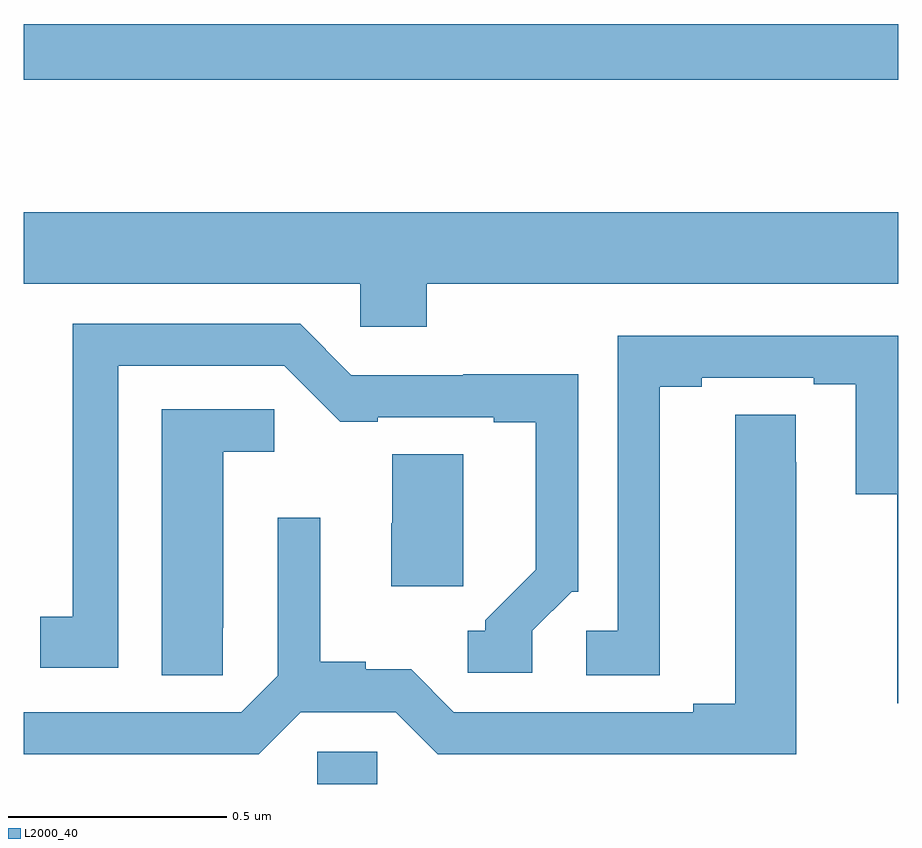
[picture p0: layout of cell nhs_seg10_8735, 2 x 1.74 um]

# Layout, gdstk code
import gdstk
lib = gdstk.Library(unit=1e-6, precision=1e-09)
def R(c, l, rs):  # rectangles x0, y0, x1, y1
    for r in rs: c.add(gdstk.rectangle(r[:2], r[2:], *l))
def P(c, l, *ps):  # polygons
    for p in ps: c.add(gdstk.Polygon(p, *l))
L2000_40 = (2000, 40)

nhs_seg10_8735 = lib.new_cell('nhs_seg10_8735')
R(nhs_seg10_8735, L2000_40, [(220.671,1304.5,220.809,1304.574), (220,1306.11,222,1306.238)])
P(nhs_seg10_8735, L2000_40, [(220.922,1305.644),(222,1305.644),(222,1305.808),(220,1305.808),(220,1305.644),(220.77,1305.644),(220.77,1305.546),(220.922,1305.546)],
  [(221.163,1304.85),(221.253,1304.94),(221.268,1304.94),(221.268,1305.437),(221.005,1305.437),(221.005,1305.435),(220.749,1305.435),(220.632,1305.552),(220.112,1305.552),(220.112,1304.882),(220.038,1304.882),(220.038,1304.766),(220.216,1304.766),(220.216,1305.456),(220.596,1305.456),(220.724,1305.328),(220.81,1305.328),(220.81,1305.339),(221.075,1305.339),(221.075,1305.327),(221.171,1305.327),(221.171,1304.99),(221.055,1304.874),(221.055,1304.85),(221.016,1304.85),(221.016,1304.754),(221.163,1304.754)],
  [(222,1305.525),(221.358,1305.525),(221.358,1304.85),(221.286,1304.85),(221.286,1304.749),(221.455,1304.749),(221.455,1305.409),(221.551,1305.409),(221.551,1305.429),(221.807,1305.429),(221.807,1305.414),(221.903,1305.414),(221.903,1305.163),(221.998,1305.163),(221.998,1304.685),(222,1304.685)],
  [(220.455,1304.857),(220.456,1304.857),(220.456,1305.26),(220.573,1305.26),(220.573,1305.357),(220.316,1305.357),(220.316,1304.749),(220.455,1304.749)],
  [(220.633,1304.664),(220.851,1304.664),(220.947,1304.568),(221.767,1304.568),(221.767,1305.236),(221.766,1305.236),(221.766,1305.344),(221.627,1305.344),(221.627,1304.684),(221.531,1304.684),(221.531,1304.664),(220.983,1304.664),(220.886,1304.762),(220.782,1304.762),(220.782,1304.78),(220.678,1304.78),(220.678,1305.109),(220.581,1305.109),(220.581,1304.748),(220.497,1304.664),(220,1304.664),(220,1304.568),(220.537,1304.568)],
  [(221.005,1305.254),(220.843,1305.254),(220.843,1305.096),(220.841,1305.096),(220.841,1304.952),(221.005,1304.952)])

lib.write_gds('nhs_seg10_8735.gds')
